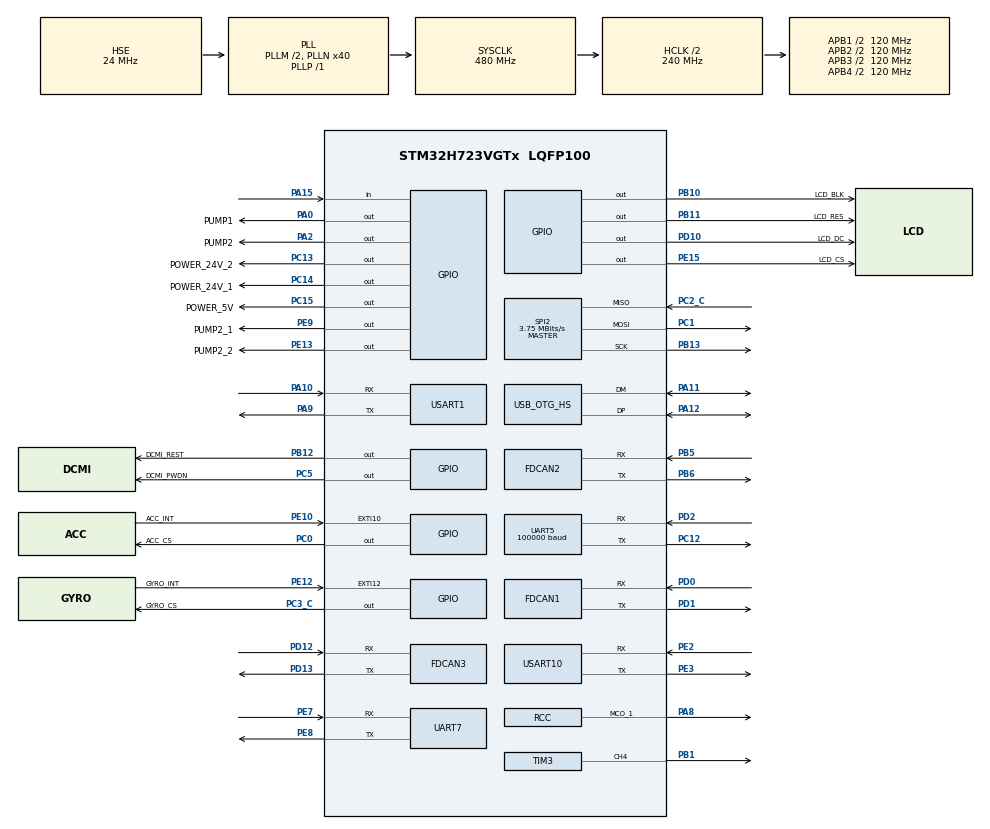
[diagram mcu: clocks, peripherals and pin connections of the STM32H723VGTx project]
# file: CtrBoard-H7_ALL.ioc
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Dma.Request0=USART1_RX
Dma.Request1=UART5_RX
Dma.Request2=USART10_RX
Dma.Request3=SPI2_RX
Dma.Request4=SPI2_TX
Dma.SPI2_RX.3.Direction=DMA_PERIPH_TO_MEMORY
Dma.SPI2_RX.3.EventEnable=DISABLE
Dma.SPI2_RX.3.FIFOMode=DMA_FIFOMODE_DISABLE
Dma.SPI2_RX.3.Instance=DMA2_Stream0
Dma.SPI2_RX.3.MemDataAlignment=DMA_MDATAALIGN_BYTE
Dma.SPI2_RX.3.MemInc=DMA_MINC_ENABLE
Dma.SPI2_RX.3.Mode=DMA_NORMAL
Dma.SPI2_RX.3.PeriphDataAlignment=DMA_PDATAALIGN_BYTE
Dma.SPI2_RX.3.PeriphInc=DMA_PINC_DISABLE
Dma.SPI2_RX.3.Polarity=HAL_DMAMUX_REQ_GEN_RISING
Dma.SPI2_RX.3.Priority=DMA_PRIORITY_VERY_HIGH
Dma.SPI2_RX.3.RequestNumber=1
Dma.SPI2_RX.3.SignalID=NONE
Dma.SPI2_RX.3.SyncEnable=DISABLE
Dma.SPI2_RX.3.SyncPolarity=HAL_DMAMUX_SYNC_NO_EVENT
Dma.SPI2_RX.3.SyncRequestNumber=1
Dma.SPI2_RX.3.SyncSignalID=NONE
Dma.SPI2_TX.4.Direction=DMA_MEMORY_TO_PERIPH
Dma.SPI2_TX.4.EventEnable=DISABLE
Dma.SPI2_TX.4.FIFOMode=DMA_FIFOMODE_DISABLE
Dma.SPI2_TX.4.Instance=DMA2_Stream1
Dma.SPI2_TX.4.MemDataAlignment=DMA_MDATAALIGN_BYTE
Dma.SPI2_TX.4.MemInc=DMA_MINC_ENABLE
Dma.SPI2_TX.4.Mode=DMA_NORMAL
Dma.SPI2_TX.4.PeriphDataAlignment=DMA_PDATAALIGN_BYTE
Dma.SPI2_TX.4.PeriphInc=DMA_PINC_DISABLE
Dma.SPI2_TX.4.Polarity=HAL_DMAMUX_REQ_GEN_RISING
Dma.SPI2_TX.4.Priority=DMA_PRIORITY_HIGH
Dma.SPI2_TX.4.RequestNumber=1
Dma.SPI2_TX.4.SignalID=NONE
Dma.SPI2_TX.4.SyncEnable=DISABLE
Dma.SPI2_TX.4.SyncPolarity=HAL_DMAMUX_SYNC_NO_EVENT
Dma.SPI2_TX.4.SyncRequestNumber=1
Dma.SPI2_TX.4.SyncSignalID=NONE
Dma.UART5_RX.1.Direction=DMA_PERIPH_TO_MEMORY
Dma.UART5_RX.1.EventEnable=DISABLE
Dma.UART5_RX.1.FIFOMode=DMA_FIFOMODE_DISABLE
Dma.UART5_RX.1.Instance=DMA1_Stream1
Dma.UART5_RX.1.MemDataAlignment=DMA_MDATAALIGN_BYTE
Dma.UART5_RX.1.MemInc=DMA_MINC_ENABLE
Dma.UART5_RX.1.Mode=DMA_NORMAL
Dma.UART5_RX.1.PeriphDataAlignment=DMA_PDATAALIGN_BYTE
Dma.UART5_RX.1.PeriphInc=DMA_PINC_DISABLE
Dma.UART5_RX.1.Polarity=HAL_DMAMUX_REQ_GEN_RISING
Dma.UART5_RX.1.Priority=DMA_PRIORITY_VERY_HIGH
Dma.UART5_RX.1.RequestNumber=1
Dma.UART5_RX.1.SignalID=NONE
Dma.UART5_RX.1.SyncEnable=DISABLE
Dma.UART5_RX.1.SyncPolarity=HAL_DMAMUX_SYNC_NO_EVENT
Dma.UART5_RX.1.SyncRequestNumber=1
Dma.UART5_RX.1.SyncSignalID=NONE
Dma.USART10_RX.2.Direction=DMA_PERIPH_TO_MEMORY
Dma.USART10_RX.2.EventEnable=DISABLE
Dma.USART10_RX.2.FIFOMode=DMA_FIFOMODE_DISABLE
Dma.USART10_RX.2.Instance=DMA1_Stream2
Dma.USART10_RX.2.MemDataAlignment=DMA_MDATAALIGN_BYTE
Dma.USART10_RX.2.MemInc=DMA_MINC_ENABLE
Dma.USART10_RX.2.Mode=DMA_NORMAL
Dma.USART10_RX.2.PeriphDataAlignment=DMA_PDATAALIGN_BYTE
Dma.USART10_RX.2.PeriphInc=DMA_PINC_DISABLE
Dma.USART10_RX.2.Polarity=HAL_DMAMUX_REQ_GEN_RISING
Dma.USART10_RX.2.Priority=DMA_PRIORITY_VERY_HIGH
Dma.USART10_RX.2.RequestNumber=1
Dma.USART10_RX.2.SignalID=NONE
Dma.USART10_RX.2.SyncEnable=DISABLE
Dma.USART10_RX.2.SyncPolarity=HAL_DMAMUX_SYNC_NO_EVENT
Dma.USART10_RX.2.SyncRequestNumber=1
Dma.USART10_RX.2.SyncSignalID=NONE
Dma.USART1_RX.0.Direction=DMA_PERIPH_TO_MEMORY
Dma.USART1_RX.0.EventEnable=DISABLE
Dma.USART1_RX.0.FIFOMode=DMA_FIFOMODE_DISABLE
Dma.USART1_RX.0.Instance=DMA1_Stream0
Dma.USART1_RX.0.MemDataAlignment=DMA_MDATAALIGN_BYTE
Dma.USART1_RX.0.MemInc=DMA_MINC_ENABLE
Dma.USART1_RX.0.Mode=DMA_NORMAL
Dma.USART1_RX.0.PeriphDataAlignment=DMA_PDATAALIGN_BYTE
Dma.USART1_RX.0.PeriphInc=DMA_PINC_DISABLE
Dma.USART1_RX.0.Polarity=HAL_DMAMUX_REQ_GEN_RISING
Dma.USART1_RX.0.Priority=DMA_PRIORITY_VERY_HIGH
Dma.USART1_RX.0.RequestNumber=1
Dma.USART1_RX.0.SignalID=NONE
Dma.USART1_RX.0.SyncEnable=DISABLE
Dma.USART1_RX.0.SyncPolarity=HAL_DMAMUX_SYNC_NO_EVENT
Dma.USART1_RX.0.SyncRequestNumber=1
Dma.USART1_RX.0.SyncSignalID=NONE
FDCAN1.AutoRetransmission=DISABLE
FDCAN1.CalculateBaudRateNominal=1000000
FDCAN1.CalculateTimeBitNominal=1000
FDCAN1.CalculateTimeQuantumNominal=25.0
FDCAN1.DataPrescaler=3
FDCAN1.DataSyncJumpWidth=10
FDCAN1.DataTimeSeg1=29
FDCAN1.DataTimeSeg2=10
FDCAN1.ExtFiltersNbr=0
FDCAN1.FrameFormat=FDCAN_FRAME_CLASSIC
FDCAN1.MessageRAMOffset=0
FDCAN1.NominalPrescaler=3
FDCAN1.NominalSyncJumpWidth=1
FDCAN1.NominalTimeSeg1=29
FDCAN1.NominalTimeSeg2=10
FDCAN1.ProtocolException=ENABLE
FDCAN1.RxBuffersNbr=0
FDCAN1.RxFifo0ElmtsNbr=4
FDCAN1.RxFifo1ElmtsNbr=4
FDCAN1.StdFiltersNbr=14
FDCAN1.TxBuffersNbr=0
FDCAN1.TxEventsNbr=0
FDCAN1.TxFifoQueueElmtsNbr=4
FDCAN2.AutoRetransmission=DISABLE
FDCAN2.CalculateBaudRateNominal=1000000
FDCAN2.CalculateTimeBitNominal=1000
FDCAN2.CalculateTimeQuantumNominal=25.0
FDCAN2.DataPrescaler=3
FDCAN2.DataSyncJumpWidth=10
FDCAN2.DataTimeSeg1=29
FDCAN2.DataTimeSeg2=10
FDCAN2.ExtFiltersNbr=0
FDCAN2.FrameFormat=FDCAN_FRAME_CLASSIC
FDCAN2.MessageRAMOffset=0x406
FDCAN2.NominalPrescaler=3
FDCAN2.NominalSyncJumpWidth=1
FDCAN2.NominalTimeSeg1=29
FDCAN2.NominalTimeSeg2=10
FDCAN2.ProtocolException=DISABLE
FDCAN2.RxBuffersNbr=0
FDCAN2.RxFifo0ElmtsNbr=4
FDCAN2.RxFifo1ElmtsNbr=4
FDCAN2.StdFiltersNbr=14
FDCAN2.TxBuffersNbr=0
FDCAN2.TxEventsNbr=0
FDCAN2.TxFifoQueueElmtsNbr=4
FDCAN3.AutoRetransmission=DISABLE
FDCAN3.CalculateBaudRateNominal=1000000
FDCAN3.CalculateTimeBitNominal=1000
FDCAN3.CalculateTimeQuantumNominal=25.0
FDCAN3.DataPrescaler=3
FDCAN3.DataSyncJumpWidth=10
FDCAN3.DataTimeSeg1=29
FDCAN3.DataTimeSeg2=10
FDCAN3.ExtFiltersNbr=0
FDCAN3.FrameFormat=FDCAN_FRAME_CLASSIC
FDCAN3.MessageRAMOffset=0x812
FDCAN3.NominalPrescaler=3
FDCAN3.NominalSyncJumpWidth=1
FDCAN3.NominalTimeSeg1=29
FDCAN3.NominalTimeSeg2=10
FDCAN3.ProtocolException=DISABLE
FDCAN3.RxBuffersNbr=0
FDCAN3.RxFifo0ElmtsNbr=4
FDCAN3.RxFifo1ElmtsNbr=4
FDCAN3.StdFiltersNbr=14
FDCAN3.TxBuffersNbr=0
FDCAN3.TxEventsNbr=0
FDCAN3.TxFifoQueueElmtsNbr=4
FREERTOS.INCLUDE_eTaskGetState=1
FREERTOS.INCLUDE_uxTaskGetStackHighWaterMark=1
FREERTOS.INCLUDE_vTaskDelayUntil=1
FREERTOS.INCLUDE_xQueueGetMutexHolder=1
FREERTOS.INCLUDE_xTaskGetCurrentTaskHandle=1
FREERTOS.INCLUDE_xTimerPendFunctionCall=1
FREERTOS.Tasks01=AlgorithmTask,2,1024,AlgorithmTask_Entry,As weak,NULL,Dynamic,NULL,NULL;ChassisTask,2,1024,ChassisTask_Entry,As weak,NULL,Dynamic,NULL,NULL;CmdTask,3,2048,CmdTask_Entry,As weak,NULL,Dynamic,NULL,NULL;RefereeTask,0,2048,RefereeTask_Entry,As weak,NULL,Dynamic,NULL,NULL;TranmissionTask,2,1024,TransmissionTask_Entry,As weak,NULL,Dynamic,NULL,NULL;USARTRecTask,2,2048,USARTRecTask_Entry,As weak,NULL,Dynamic,NULL,NULL;GimbalTask,2,768,GimbalTask_Entry,As weak,NULL,Dynamic,NULL,NULL;ShootTask,2,512,ShootTask_Entry,As weak,NULL,Dynamic,NULL,NULL;InsTask,3,2048,InsTask_Entry,As weak,NULL,Dynamic,NULL,NULL;MotorTask,2,2048,MotorTask_Entry,As weak,NULL,Dynamic,NULL,NULL;SupercapTask,0,512,Supercap_Entry,As weak,NULL,Dynamic,NULL,NULL
FREERTOS.configENABLE_FPU=1
FREERTOS.configTOTAL_HEAP_SIZE=200000
FREERTOS.configUSE_COUNTING_SEMAPHORES=1
FREERTOS.configUSE_NEWLIB_REENTRANT=1
FREERTOS.configUSE_RECURSIVE_MUTEXES=1
FREERTOS.configUSE_TIMERS=1
FREERTOS.configUSE_TRACE_FACILITY=1
Mcu.Family=STM32H7
Mcu.Name=STM32H723VGTx
Mcu.Package=LQFP100
NVIC.DMA1_Stream0_IRQn=true\:5\:0\:false\:false\:true\:true\:false\:true\:true
NVIC.DMA1_Stream1_IRQn=true\:5\:0\:false\:false\:true\:true\:false\:true\:true
NVIC.DMA1_Stream2_IRQn=true\:5\:0\:false\:false\:true\:true\:false\:true\:true
NVIC.DMA2_Stream0_IRQn=true\:5\:0\:false\:false\:true\:false\:false\:true\:true
NVIC.DMA2_Stream1_IRQn=true\:5\:0\:false\:false\:true\:false\:false\:true\:true
NVIC.FDCAN1_IT0_IRQn=true\:5\:0\:false\:false\:true\:true\:true\:true\:true
NVIC.FDCAN1_IT1_IRQn=true\:5\:0\:false\:false\:true\:true\:true\:true\:true
NVIC.FDCAN2_IT0_IRQn=true\:5\:0\:false\:false\:true\:true\:true\:true\:true
NVIC.FDCAN2_IT1_IRQn=true\:5\:0\:false\:false\:true\:true\:true\:true\:true
NVIC.FDCAN3_IT0_IRQn=true\:5\:0\:false\:false\:true\:true\:true\:true\:true
NVIC.FDCAN3_IT1_IRQn=true\:5\:0\:false\:false\:true\:true\:true\:true\:true
NVIC.OTG_HS_IRQn=true\:5\:0\:false\:false\:true\:true\:true\:true\:true
NVIC.PriorityGroup=NVIC_PRIORITYGROUP_4
NVIC.SPI2_IRQn=true\:5\:0\:false\:false\:true\:true\:false\:true\:true
NVIC.TIM23_IRQn=true\:15\:0\:false\:false\:true\:false\:false\:true\:true
NVIC.TimeBase=TIM23_IRQn
NVIC.TimeBaseIP=TIM23
NVIC.UART5_IRQn=true\:5\:0\:false\:false\:true\:true\:true\:true\:true
NVIC.USART10_IRQn=true\:5\:0\:false\:false\:true\:true\:true\:true\:true
NVIC.USART1_IRQn=true\:5\:0\:false\:false\:true\:true\:true\:true\:true
PA0.GPIO_Label=PUMP1
PA0.Signal=GPIO_Output
PA1.Signal=OCTOSPIM_P1_IO3
PA10.GPIO_Speed=GPIO_SPEED_FREQ_VERY_HIGH
PA10.Mode=Asynchronous
PA10.Signal=USART1_RX
PA11.Mode=Device_Only_FS
PA11.Signal=USB_OTG_HS_DM
PA12.Mode=Device_Only_FS
PA12.Signal=USB_OTG_HS_DP
PA13(JTMS/SWDIO).Signal=DEBUG_JTMS-SWDIO
PA14(JTCK/SWCLK).Signal=DEBUG_JTCK-SWCLK
PA15(JTDI).Signal=GPIO_Input
PA2.GPIO_Label=PUMP2
PA2.Signal=GPIO_Output
PA3.Signal=OCTOSPIM_P1_IO2
PA5.Signal=ADCx_INP19
PA8.Mode=Clock-out-1
PA8.Signal=RCC_MCO_1
PA9.GPIO_Speed=GPIO_SPEED_FREQ_VERY_HIGH
PA9.Mode=Asynchronous
PA9.Signal=USART1_TX
PB0.Signal=OCTOSPIM_P1_IO1
PB1.Signal=S_TIM3_CH4
PB10.GPIO_Label=LCD_BLK
PB10.Signal=GPIO_Output
PB11.GPIO_Label=LCD_RES
PB11.Signal=GPIO_Output
PB12.GPIO_Label=DCMI_REST
PB12.GPIO_PuPd=GPIO_PULLUP
PB12.GPIO_Speed=GPIO_SPEED_FREQ_VERY_HIGH
PB12.PinState=GPIO_PIN_SET
PB12.Signal=GPIO_Output
PB13.GPIO_Speed=GPIO_SPEED_FREQ_VERY_HIGH
PB13.Mode=Full_Duplex_Master
PB13.Signal=SPI2_SCK
PB15.Signal=S_TIM12_CH2
PB2.Signal=OCTOSPIM_P1_CLK
PB5.Mode=FDCAN_Activate
PB5.Signal=FDCAN2_RX
PB6.Mode=FDCAN_Activate
PB6.Signal=FDCAN2_TX
PC0.GPIO_Label=ACC_CS
PC0.GPIO_Speed=GPIO_SPEED_FREQ_VERY_HIGH
PC0.PinState=GPIO_PIN_SET
PC0.Signal=GPIO_Output
PC1.GPIO_Speed=GPIO_SPEED_FREQ_VERY_HIGH
PC1.Mode=Full_Duplex_Master
PC1.Signal=SPI2_MOSI
PC12.GPIO_Speed=GPIO_SPEED_FREQ_VERY_HIGH
PC12.Mode=Asynchronous
PC12.Signal=UART5_TX
PC13.GPIO_Label=POWER_24V_2
PC13.PinState=GPIO_PIN_SET
PC13.Signal=GPIO_Output
PC14-OSC32_IN.GPIO_Label=POWER_24V_1
PC14-OSC32_IN.PinState=GPIO_PIN_SET
PC14-OSC32_IN.Signal=GPIO_Output
PC15-OSC32_OUT.GPIO_Label=POWER_5V
PC15-OSC32_OUT.PinState=GPIO_PIN_SET
PC15-OSC32_OUT.Signal=GPIO_Output
PC2_C.GPIO_Speed=GPIO_SPEED_FREQ_VERY_HIGH
PC2_C.Mode=Full_Duplex_Master
PC2_C.Signal=SPI2_MISO
PC3_C.GPIO_Label=GYRO_CS
PC3_C.GPIO_Speed=GPIO_SPEED_FREQ_VERY_HIGH
PC3_C.PinState=GPIO_PIN_SET
PC3_C.Signal=GPIO_Output
PC4.Signal=ADCx_INP4
PC5.GPIO_Label=DCMI_PWDN
PC5.GPIO_PuPd=GPIO_NOPULL
PC5.GPIO_Speed=GPIO_SPEED_FREQ_VERY_HIGH
PC5.PinState=GPIO_PIN_SET
PC5.Signal=GPIO_Output
PD0.Mode=FDCAN_Activate
PD0.Signal=FDCAN1_RX
PD1.Mode=FDCAN_Activate
PD1.Signal=FDCAN1_TX
PD10.GPIO_Label=LCD_DC
PD10.Signal=GPIO_Output
PD11.Signal=OCTOSPIM_P1_IO0
PD12.Mode=FDCAN_Activate
PD12.Signal=FDCAN3_RX
PD13.Mode=FDCAN_Activate
PD13.Signal=FDCAN3_TX
PD2.GPIO_Speed=GPIO_SPEED_FREQ_VERY_HIGH
PD2.Mode=Asynchronous
PD2.Signal=UART5_RX
PD4.Signal=USART2_DE
PD5.Signal=USART2_TX
PD6.Signal=USART2_RX
PD7.GPIO_Speed=GPIO_SPEED_FREQ_VERY_HIGH
PD7.Signal=SPI1_MOSI
PE10.GPIO_Label=ACC_INT
PE10.Signal=GPXTI10
PE11.Signal=OCTOSPIM_P1_NCS
PE12.GPIO_Label=GYRO_INT
PE12.Signal=GPXTI12
PE13.GPIO_Label=PUMP2_2
PE13.Signal=GPIO_Output
PE15.GPIO_Label=LCD_CS
PE15.Signal=GPIO_Output
PE2.GPIO_Speed=GPIO_SPEED_FREQ_VERY_HIGH
PE2.Mode=Asynchronous
PE2.Signal=USART10_RX
PE3.GPIO_Speed=GPIO_SPEED_FREQ_VERY_HIGH
PE3.Mode=Asynchronous
PE3.Signal=USART10_TX
PE7.Mode=Asynchronous
PE7.Signal=UART7_RX
PE8.Mode=Asynchronous
PE8.Signal=UART7_TX
PE9.GPIO_Label=PUMP2_1
PE9.Signal=GPIO_Output
PH0-OSC_IN.Mode=HSE-External-Oscillator
PH0-OSC_IN.Signal=RCC_OSC_IN
PH1-OSC_OUT.Mode=HSE-External-Oscillator
PH1-OSC_OUT.Signal=RCC_OSC_OUT
ProjectManager.HeapSize=0x400
ProjectManager.StackSize=0x1000
ProjectManager.TargetToolchain=STM32CubeIDE
RCC.ADCFreq_Value=96000000
RCC.APB1Freq_Value=120000000
RCC.APB2Freq_Value=120000000
RCC.APB3Freq_Value=120000000
RCC.APB4Freq_Value=120000000
RCC.CortexFreq_Value=480000000
RCC.D1PPRE=RCC_APB3_DIV2
RCC.D2PPRE1=RCC_APB1_DIV2
RCC.D2PPRE2=RCC_APB2_DIV2
RCC.D3PPRE=RCC_APB4_DIV2
RCC.DIVM1=2
RCC.DIVM2=2
RCC.DIVN1=40
RCC.DIVN2=16
RCC.DIVP1=1
RCC.DIVQ1=4
RCC.EnbaleCSS=false
RCC.HCLKFreq_Value=240000000
RCC.HPRE=RCC_HCLK_DIV2
RCC.HSE_VALUE=24000000
RCC.PLL2FRACN=0
RCC.PLL2_VCI_Range-AdvancedSettings=RCC_PLL2VCIRANGE_0
RCC.PLL2_VCO_SEL-AdvancedSettings=RCC_PLL2VCOMEDIUM
RCC.PLL3FRACN=0
RCC.PLL3_VCO_SEL-AdvancedSettings=RCC_PLL3VCOMEDIUM
RCC.PLLFRACN=0
RCC.PLLSourceVirtual=RCC_PLLSOURCE_HSE
RCC.SPI6CLockSelection=RCC_SPI6CLKSOURCE_HSE
RCC.SYSCLKFreq_VALUE=480000000
RCC.SYSCLKSource=RCC_SYSCLKSOURCE_PLLCLK
RCC.USBCLockSelection=RCC_USBCLKSOURCE_HSI48
RCC.USBFreq_Value=48000000
SH.ADCx_INP19.0=ADC1_INP19
SH.ADCx_INP4.0=ADC1_INP4
SH.S_TIM12_CH2.0=TIM12_CH2
SH.S_TIM3_CH4.0=TIM3_CH4,PWM Generation4 CH4
SPI2.BaudRatePrescaler=SPI_BAUDRATEPRESCALER_32
SPI2.CLKPhase=SPI_PHASE_2EDGE
SPI2.CLKPolarity=SPI_POLARITY_HIGH
SPI2.CalculateBaudRate=3.75 MBits/s
SPI2.DataSize=SPI_DATASIZE_8BIT
SPI2.Direction=SPI_DIRECTION_2LINES
SPI2.Mode=SPI_MODE_MASTER
SPI2.VirtualType=VM_MASTER
STMicroelectronics.X-CUBE-ALGOBUILD.1.4.0.LibraryCcDSPOoLibraryJjDSPOoLibrary=true
TIM3.AutoReloadPreload=TIM_AUTORELOAD_PRELOAD_ENABLE
TIM3.Channel-PWM\ Generation4\ CH4=TIM_CHANNEL_4
TIM3.Period=10000-1
TIM3.Prescaler=24-1
UART5.BaudRate=100000
UART5.Parity=PARITY_EVEN
UART5.StopBits=UART_STOPBITS_2
UART5.WordLength=WORDLENGTH_9B
USART1.VirtualMode-Asynchronous=VM_ASYNC
USART10.VirtualMode=VM_ASYNC
USB_DEVICE.CLASS_NAME_HS=CDC
USB_DEVICE.VirtualMode=Cdc
USB_DEVICE.VirtualModeHS=Cdc_HS
USB_OTG_HS.VirtualMode-Device_Only_FS=Device_Only_FS
VP_FREERTOS_VS_CMSIS_V1.Mode=CMSIS_V1
VP_MEMORYMAP_VS_MEMORYMAP.Mode=CurAppReg
VP_STMicroelectronics.X-CUBE-ALGOBUILD_VS_DSPOoLibraryJjLibrary_1.4.0_1.4.0.Mode=DSPOoLibraryJjLibrary
VP_SYS_VS_tim23.Mode=TIM23
VP_USB_DEVICE_VS_USB_DEVICE_CDC_HS.Mode=CDC_HS
board=custom

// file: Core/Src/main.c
/* USER CODE BEGIN Header */
/**
  ******************************************************************************
  * @file           : main.c
  * @brief          : Main program body
  ******************************************************************************
  * @attention
  *
  * Copyright (c) 2025 STMicroelectronics.
  * All rights reserved.
  *
  * This software is licensed under terms that can be found in the LICENSE file
  * in the root directory of this software component.
  * If no LICENSE file comes with this software, it is provided AS-IS.
  *
  ******************************************************************************
  */
/* USER CODE END Header */
#include "main.h"
#include "cmsis_os.h"
#include "dma.h"
#include "fdcan.h"
#include "memorymap.h"
#include "spi.h"
#include "tim.h"
#include "usart.h"
#include "usb_device.h"
#include "gpio.h"

/* USER CODE BEGIN Includes */
#include "drv_dwt.h"
#include "bsp_fdcan.h"
#include "dm_motor_drv.h"
#include "dm_motor_ctrl.h"
#include "usbd_cdc_if.h"
/* USER CODE END Includes */

/* USER CODE BEGIN PTD */
// 全局声明信号量
SemaphoreHandle_t xSemaphoreUART10 = NULL;
SemaphoreHandle_t xSemaphoreUART1 = NULL;           // 通知任务处理信号量
SemaphoreHandle_t xSemaphoreUART5 = NULL;
QueueSetHandle_t xUartQueueSet = NULL; // 定义队列集句柄,统一管理串口中断信号量
// 声明互斥锁句柄
SemaphoreHandle_t  sbus_cmd_mutex = NULL;

QueueHandle_t xControlQueue = NULL; // 队列句柄
/* USER CODE END PTD */

/* USER CODE BEGIN PD */
#define CONTROL_QUEUE_LENGTH 10    // 队列长度，可根据需要调整
#define CONTROL_QUEUE_ITEM_SIZE sizeof(float)*7 // 每个队列元素占用的字节数
/* USER CODE END PD */

void SystemClock_Config(void);
void MX_FREERTOS_Init(void);

int main(void)
{

  /* MCU Configuration--------------------------------------------------------*/

  /* Reset of all peripherals, Initializes the Flash interface and the Systick. */
  HAL_Init();

  /* Configure the system clock */
  SystemClock_Config();

  /* Initialize all configured peripherals */
  MX_GPIO_Init();
  MX_DMA_Init();
  MX_FDCAN1_Init();
  MX_FDCAN2_Init();
  MX_FDCAN3_Init();
  MX_USART1_UART_Init();
  MX_UART5_Init();
  MX_USART10_UART_Init();
  MX_UART7_Init();
  MX_SPI2_Init();
  MX_TIM3_Init();
  /* USER CODE BEGIN 2 */
    MX_USB_DEVICE_Init();

    // FreeRTOS 初始化
    xSemaphoreUART10 = xSemaphoreCreateBinary();  // <-- 在此处创建信号量
    xSemaphoreUART1 = xSemaphoreCreateBinary();  // <-- 在此处创建信号量
    xSemaphoreUART5 = xSemaphoreCreateBinary();  // <-- 在此处创建信号量
    // 定义队列集（最多监听 3 个信号量）
    xUartQueueSet = xQueueCreateSet(3);
    // 将各串口信号量加入队列集
    xQueueAddToSet(xSemaphoreUART1, xUartQueueSet);
    xQueueAddToSet(xSemaphoreUART5, xUartQueueSet);
    xQueueAddToSet(xSemaphoreUART10, xUartQueueSet);

    // 创建队列
    xControlQueue = xQueueCreate(CONTROL_QUEUE_LENGTH, CONTROL_QUEUE_ITEM_SIZE);
    if (xControlQueue == NULL) {
        // 队列创建失败，进入错误处理
        Error_Handler();
    }

    sbus_cmd_mutex = xSemaphoreCreateMutex();  // 初始化互斥锁

    HAL_GPIO_WritePin(PUMP1_GPIO_Port, PUMP1_Pin, GPIO_PIN_RESET);
    HAL_GPIO_WritePin(PUMP2_GPIO_Port, PUMP2_Pin, GPIO_PIN_RESET);
    HAL_GPIO_WritePin(PUMP2_1_GPIO_Port, PUMP2_1_Pin, GPIO_PIN_RESET);
    HAL_GPIO_WritePin(PUMP2_2_GPIO_Port, PUMP2_2_Pin, GPIO_PIN_RESET);

    dwt_init(480);
    bsp_can_init();

    // 达妙4310驱动设置
//    power(1);
//    bsp_fdcan_set_baud(&hfdcan1, CAN_CLASS, CAN_BR_1M);
//    bsp_fdcan_set_baud(&hfdcan2, CAN_CLASS, CAN_BR_1M);
//    bsp_fdcan_set_baud(&hfdcan3, CAN_CLASS, CAN_BR_1M);
//	  bsp_fdcan_set_baud(&hfdcan1, CAN_FD_BRS, CAN_BR_1M);
//    dm_motor_init();

//    write_motor_data(motor[Motor1].id, 10, mit_mode, 0, 0, 0);
//	write_motor_data(motor[Motor1].id, 35, CAN_BR_5M, 0, 0, 0);
//    	read_motor_data(motor[Motor1].id, RID_CAN_BR);
//    dm_motor_disable(&hfdcan2, &motor[Motor1]);

//    save_motor_data(motor[Motor1].id, 10);

//    HAL_TIM_Base_Start_IT(&htim3);
//	read_all_motor_data(&motor[Motor1]);
  /* USER CODE END 2 */

  /* Call init function for freertos objects (in cmsis_os2.c) */
  MX_FREERTOS_Init();

  /* Start scheduler */
  osKernelStart();

  /* We should never get here as control is now taken by the scheduler */

  /* Infinite loop */
  while (1)
  {

    /* USER CODE BEGIN 3 */
//      vTaskDelay(100);
//
//      CDC_Transmit_HS((uint8_t *)"hello\r", 6);
//      CDC_Transmit_HS((uint8_t *)"借点钱\r", 7);

  }
  /* USER CODE END 3 */
}

void SystemClock_Config(void)
{
  RCC_OscInitTypeDef RCC_OscInitStruct = {0};
  RCC_ClkInitTypeDef RCC_ClkInitStruct = {0};

  /** Supply configuration update enable
  */
  HAL_PWREx_ConfigSupply(PWR_LDO_SUPPLY);

  /** Configure the main internal regulator output voltage
  */
  __HAL_PWR_VOLTAGESCALING_CONFIG(PWR_REGULATOR_VOLTAGE_SCALE0);

  while(!__HAL_PWR_GET_FLAG(PWR_FLAG_VOSRDY)) {}

  /** Initializes the RCC Oscillators according to the specified parameters
  * in the RCC_OscInitTypeDef structure.
  */
  RCC_OscInitStruct.OscillatorType = RCC_OSCILLATORTYPE_HSI48|RCC_OSCILLATORTYPE_HSI
                              |RCC_OSCILLATORTYPE_HSE;
  RCC_OscInitStruct.HSEState = RCC_HSE_ON;
  RCC_OscInitStruct.HSIState = RCC_HSI_DIV1;
  RCC_OscInitStruct.HSICalibrationValue = 64;
  RCC_OscInitStruct.HSI48State = RCC_HSI48_ON;
  RCC_OscInitStruct.PLL.PLLState = RCC_PLL_ON;
  RCC_OscInitStruct.PLL.PLLSource = RCC_PLLSOURCE_HSE;
  RCC_OscInitStruct.PLL.PLLM = 2;
  RCC_OscInitStruct.PLL.PLLN = 40;
  RCC_OscInitStruct.PLL.PLLP = 1;
  RCC_OscInitStruct.PLL.PLLQ = 4;
  RCC_OscInitStruct.PLL.PLLR = 2;
  RCC_OscInitStruct.PLL.PLLRGE = RCC_PLL1VCIRANGE_3;
  RCC_OscInitStruct.PLL.PLLVCOSEL = RCC_PLL1VCOWIDE;
  RCC_OscInitStruct.PLL.PLLFRACN = 0;
  if (HAL_RCC_OscConfig(&RCC_OscInitStruct) != HAL_OK)
  {
    Error_Handler();
  }

  /** Initializes the CPU, AHB and APB buses clocks
  */
  RCC_ClkInitStruct.ClockType = RCC_CLOCKTYPE_HCLK|RCC_CLOCKTYPE_SYSCLK
                              |RCC_CLOCKTYPE_PCLK1|RCC_CLOCKTYPE_PCLK2
                              |RCC_CLOCKTYPE_D3PCLK1|RCC_CLOCKTYPE_D1PCLK1;
  RCC_ClkInitStruct.SYSCLKSource = RCC_SYSCLKSOURCE_PLLCLK;
  RCC_ClkInitStruct.SYSCLKDivider = RCC_SYSCLK_DIV1;
  RCC_ClkInitStruct.AHBCLKDivider = RCC_HCLK_DIV2;
  RCC_ClkInitStruct.APB3CLKDivider = RCC_APB3_DIV2;
  RCC_ClkInitStruct.APB1CLKDivider = RCC_APB1_DIV2;
  RCC_ClkInitStruct.APB2CLKDivider = RCC_APB2_DIV2;
  RCC_ClkInitStruct.APB4CLKDivider = RCC_APB4_DIV2;

  if (HAL_RCC_ClockConfig(&RCC_ClkInitStruct, FLASH_LATENCY_3) != HAL_OK)
  {
    Error_Handler();
  }
  HAL_RCC_MCOConfig(RCC_MCO1, RCC_MCO1SOURCE_HSI, RCC_MCODIV_1);
}

void HAL_TIM_PeriodElapsedCallback(TIM_HandleTypeDef *htim)
{
  if (htim->Instance == TIM23)
  {
    HAL_IncTick();
  }
}

void Error_Handler(void)
{
  __disable_irq();
  while (1)
  {
  }
}

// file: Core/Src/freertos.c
/* USER CODE BEGIN Header */
/**
  ******************************************************************************
  * File Name          : freertos.c
  * Description        : Code for freertos applications
  ******************************************************************************
  * @attention
  *
  * Copyright (c) 2025 STMicroelectronics.
  * All rights reserved.
  *
  * This software is licensed under terms that can be found in the LICENSE file
  * in the root directory of this software component.
  * If no LICENSE file comes with this software, it is provided AS-IS.
  *
  ******************************************************************************
  */
/* USER CODE END Header */

#include "FreeRTOS.h"
#include "task.h"
#include "main.h"
#include "cmsis_os.h"

osThreadId AlgorithmTaskHandle;
osThreadId ChassisTaskHandle;
osThreadId CmdTaskHandle;
osThreadId RefereeTaskHandle;
osThreadId TranmissionTaskHandle;
osThreadId USARTRecTaskHandle;
osThreadId GimbalTaskHandle;
osThreadId ShootTaskHandle;
osThreadId InsTaskHandle;
osThreadId MotorTaskHandle;
osThreadId SupercapTaskHandle;

void AlgorithmTask_Entry(void const * argument);
void ChassisTask_Entry(void const * argument);
void CmdTask_Entry(void const * argument);
void RefereeTask_Entry(void const * argument);
void TransmissionTask_Entry(void const * argument);
void USARTRecTask_Entry(void const * argument);
void GimbalTask_Entry(void const * argument);
void ShootTask_Entry(void const * argument);
void InsTask_Entry(void const * argument);
void MotorTask_Entry(void const * argument);
void Supercap_Entry(void const * argument);

extern void MX_USB_DEVICE_Init(void);
void MX_FREERTOS_Init(void); /* (MISRA C 2004 rule 8.1) */

/* GetIdleTaskMemory prototype (linked to static allocation support) */
void vApplicationGetIdleTaskMemory( StaticTask_t **ppxIdleTaskTCBBuffer, StackType_t **ppxIdleTaskStackBuffer, uint32_t *pulIdleTaskStackSize );

/* GetTimerTaskMemory prototype (linked to static allocation support) */
void vApplicationGetTimerTaskMemory( StaticTask_t **ppxTimerTaskTCBBuffer, StackType_t **ppxTimerTaskStackBuffer, uint32_t *pulTimerTaskStackSize );

/* USER CODE BEGIN GET_IDLE_TASK_MEMORY */
static StaticTask_t xIdleTaskTCBBuffer;
static StackType_t xIdleStack[configMINIMAL_STACK_SIZE];

void vApplicationGetIdleTaskMemory( StaticTask_t **ppxIdleTaskTCBBuffer, StackType_t **ppxIdleTaskStackBuffer, uint32_t *pulIdleTaskStackSize )
{
  *ppxIdleTaskTCBBuffer = &xIdleTaskTCBBuffer;
  *ppxIdleTaskStackBuffer = &xIdleStack[0];
  *pulIdleTaskStackSize = configMINIMAL_STACK_SIZE;
  /* place for user code */
}
/* USER CODE END GET_IDLE_TASK_MEMORY */

/* USER CODE BEGIN GET_TIMER_TASK_MEMORY */
static StaticTask_t xTimerTaskTCBBuffer;
static StackType_t xTimerStack[configTIMER_TASK_STACK_DEPTH];

void vApplicationGetTimerTaskMemory( StaticTask_t **ppxTimerTaskTCBBuffer, StackType_t **ppxTimerTaskStackBuffer, uint32_t *pulTimerTaskStackSize )
{
  *ppxTimerTaskTCBBuffer = &xTimerTaskTCBBuffer;
  *ppxTimerTaskStackBuffer = &xTimerStack[0];
  *pulTimerTaskStackSize = configTIMER_TASK_STACK_DEPTH;
  /* place for user code */
}
/* USER CODE END GET_TIMER_TASK_MEMORY */

void MX_FREERTOS_Init(void) {

  /* Create the thread(s) */
  /* definition and creation of AlgorithmTask */
  osThreadDef(AlgorithmTask, AlgorithmTask_Entry, osPriorityHigh, 0, 1024);
  AlgorithmTaskHandle = osThreadCreate(osThread(AlgorithmTask), NULL);

  /* definition and creation of ChassisTask */
  osThreadDef(ChassisTask, ChassisTask_Entry, osPriorityHigh, 0, 1024);
  ChassisTaskHandle = osThreadCreate(osThread(ChassisTask), NULL);

  /* definition and creation of CmdTask */
  osThreadDef(CmdTask, CmdTask_Entry, osPriorityRealtime, 0, 2048);
  CmdTaskHandle = osThreadCreate(osThread(CmdTask), NULL);

  /* definition and creation of RefereeTask */
  osThreadDef(RefereeTask, RefereeTask_Entry, osPriorityNormal, 0, 2048);
  RefereeTaskHandle = osThreadCreate(osThread(RefereeTask), NULL);

  /* definition and creation of TranmissionTask */
  osThreadDef(TranmissionTask, TransmissionTask_Entry, osPriorityHigh, 0, 1024);
  TranmissionTaskHandle = osThreadCreate(osThread(TranmissionTask), NULL);

  /* definition and creation of USARTRecTask */
  osThreadDef(USARTRecTask, USARTRecTask_Entry, osPriorityHigh, 0, 2048);
  USARTRecTaskHandle = osThreadCreate(osThread(USARTRecTask), NULL);

  /* definition and creation of GimbalTask */
  osThreadDef(GimbalTask, GimbalTask_Entry, osPriorityHigh, 0, 768);
  GimbalTaskHandle = osThreadCreate(osThread(GimbalTask), NULL);

  /* definition and creation of ShootTask */
  osThreadDef(ShootTask, ShootTask_Entry, osPriorityHigh, 0, 512);
  ShootTaskHandle = osThreadCreate(osThread(ShootTask), NULL);

  /* definition and creation of InsTask */
  osThreadDef(InsTask, InsTask_Entry, osPriorityRealtime, 0, 2048);
  InsTaskHandle = osThreadCreate(osThread(InsTask), NULL);

  /* definition and creation of MotorTask */
  osThreadDef(MotorTask, MotorTask_Entry, osPriorityHigh, 0, 2048);
  MotorTaskHandle = osThreadCreate(osThread(MotorTask), NULL);

  /* definition and creation of SupercapTask */
  osThreadDef(SupercapTask, Supercap_Entry, osPriorityNormal, 0, 512);
  SupercapTaskHandle = osThreadCreate(osThread(SupercapTask), NULL);

}

__weak void AlgorithmTask_Entry(void const * argument)
{
  /* init code for USB_DEVICE */
  MX_USB_DEVICE_Init();
  for(;;)
  {
    osDelay(1);
  }
}

__weak void ChassisTask_Entry(void const * argument)
{
  for(;;)
  {
    osDelay(1);
  }
}

__weak void CmdTask_Entry(void const * argument)
{
  for(;;)
  {
    osDelay(1);
  }
}

__weak void RefereeTask_Entry(void const * argument)
{
  for(;;)
  {
    osDelay(1);
  }
}

__weak void TransmissionTask_Entry(void const * argument)
{
  for(;;)
  {
    osDelay(1);
  }
}

__weak void USARTRecTask_Entry(void const * argument)
{
  for(;;)
  {
    osDelay(1);
  }
}

__weak void GimbalTask_Entry(void const * argument)
{
  for(;;)
  {
    osDelay(1);
  }
}

__weak void ShootTask_Entry(void const * argument)
{
  for(;;)
  {
    osDelay(1);
  }
}

__weak void InsTask_Entry(void const * argument)
{
  for(;;)
  {
    osDelay(1);
  }
}

__weak void MotorTask_Entry(void const * argument)
{
  for(;;)
  {
    osDelay(1);
  }
}

__weak void Supercap_Entry(void const * argument)
{
  for(;;)
  {
    osDelay(1);
  }
}
